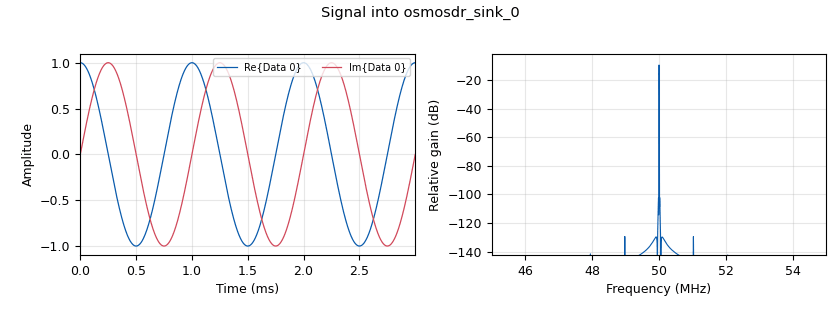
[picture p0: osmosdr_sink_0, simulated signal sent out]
options:
  parameters:
    generate_options: qt_gui
    id: TopBlock
    output_language: python
    title: Top Block
  states: {}

blocks:
- name: frequency
  id: variable_qtgui_range
  parameters:
    label: Frequency
    start: 50e6
    step: 10e6
    stop: 800e6
    value: 50e6
  states: {}
- name: rf_gain
  id: variable_qtgui_range
  parameters:
    label: Radio Gain
    start: '0'
    step: '0.1'
    stop: '50'
    value: '25'
  states: {}
- name: samp_rate
  id: variable
  parameters:
    value: 10e6
  states: {}
- name: analog_sig_source_x_0
  id: analog_sig_source_x
  parameters:
    amp: '1'
    freq: '1000'
    offset: '0'
    phase: '0'
    samp_rate: samp_rate
    type: complex
    waveform: analog.GR_COS_WAVE
  states: {}
- name: osmosdr_sink_0
  id: osmosdr_sink
  parameters:
    args: hackrf=0
    bb_gain0: rf_gain
    comment: |-
      1) Connect the HackRF/Portapack to the computer via the USB port.
      2) Put a DC Block at the oscilloscope.
      3) Connect the antenna port of the HackRF to the oscilloscope 
      4) Turn on the Portapack and select the HackRF option. 
      5) Put a 50 ohm terminator at the oscilloscope.
      6) Run the script and view the waveform on the oscilloscope and 
      usng the scope's FFT.

      Note: to use an external clock:
      1) set Device arguments to: 
      hackrf=0,clock_source=external
      2) connect the clock to the CLKIN port on the HackRF.
      Make sure the clock voltage levels are acceptible.
    freq0: frequency
    gain0: rf_gain
    if_gain0: rf_gain
    sample_rate: samp_rate
    sync: sync
    type: fc32
  states: {}

connections:
- [analog_sig_source_x_0, '0', osmosdr_sink_0, '0']

metadata:
  file_format: 1
  grc_version: 3.10.9.2
